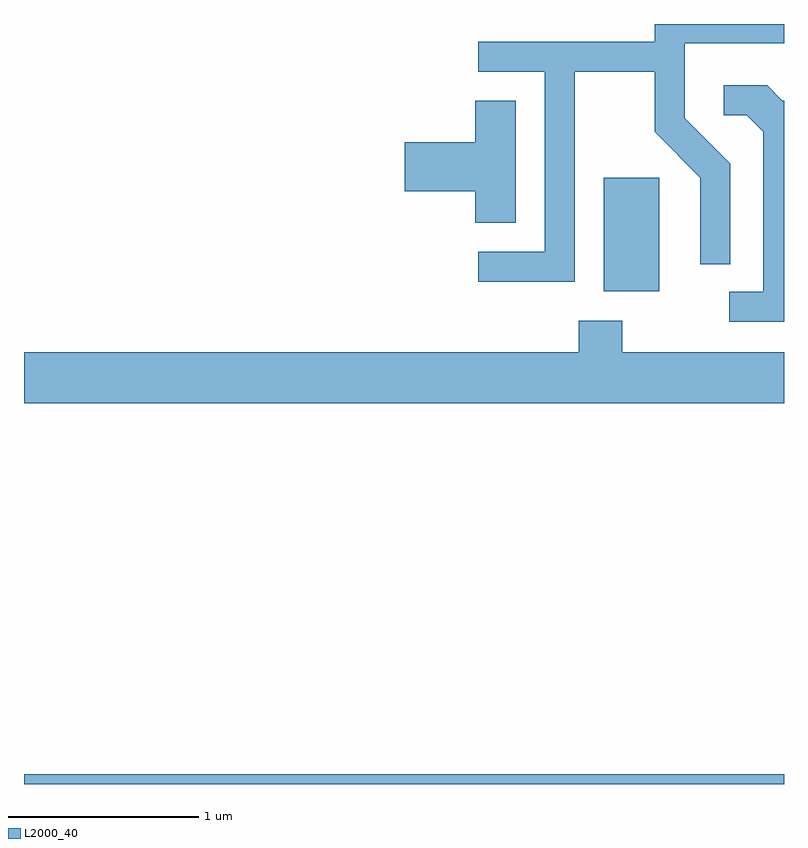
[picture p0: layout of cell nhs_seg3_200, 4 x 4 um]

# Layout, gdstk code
import gdstk
lib = gdstk.Library(unit=1e-6, precision=1e-09)
def R(c, l, rs):  # rectangles x0, y0, x1, y1
    for r in rs: c.add(gdstk.rectangle(r[:2], r[2:], *l))
def P(c, l, *ps):  # polygons
    for p in ps: c.add(gdstk.Polygon(p, *l))
L2000_40 = (2000, 40)

nhs_seg3_200 = lib.new_cell('nhs_seg3_200')
R(nhs_seg3_200, L2000_40, [(189.611,1243.892,193.611,1243.944), (192.661,1246.486,192.954,1247.084)])
P(nhs_seg3_200, L2000_40, [(192.509,1247.641),(192.931,1247.641),(192.931,1247.324),(193.171,1247.084),(193.171,1246.628),(193.329,1246.628),(193.329,1247.157),(193.089,1247.397),(193.089,1247.791),(193.611,1247.791),(193.611,1247.892),(192.931,1247.892),(192.931,1247.799),(192.003,1247.799),(192.003,1247.641),(192.351,1247.641),(192.351,1246.694),(192.003,1246.694),(192.003,1246.536),(192.509,1246.536)],
  [(193.611,1247.489),(193.602,1247.489),(193.522,1247.569),(193.293,1247.569),(193.293,1247.411),(193.414,1247.411),(193.501,1247.324),(193.501,1246.484),(193.323,1246.484),(193.323,1246.326),(193.611,1246.326)],
  [(192.199,1247.489),(191.986,1247.489),(191.986,1247.269),(191.616,1247.269),(191.616,1247.011),(191.986,1247.011),(191.986,1246.846),(192.199,1246.846)],
  [(193.611,1246.164),(192.759,1246.164),(192.759,1246.329),(192.531,1246.329),(192.531,1246.164),(189.611,1246.164),(189.611,1245.896),(193.611,1245.896)])

lib.write_gds('nhs_seg3_200.gds')
